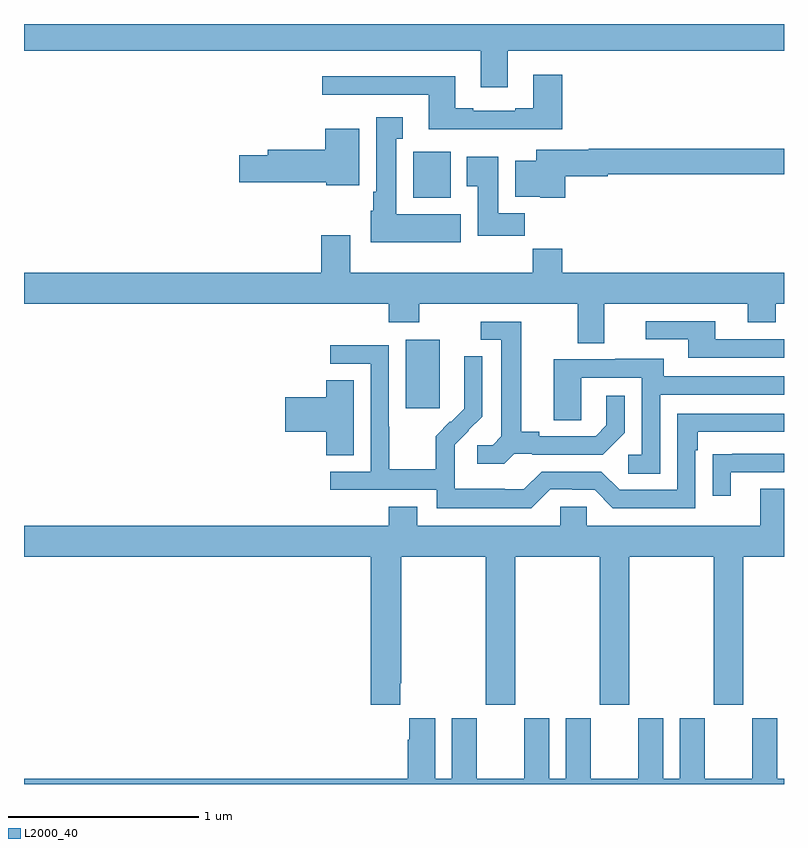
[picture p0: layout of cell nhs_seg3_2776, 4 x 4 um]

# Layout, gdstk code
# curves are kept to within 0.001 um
import gdstk
lib = gdstk.Library(unit=1e-6, precision=1e-09)
def R(c, l, rs):  # rectangles x0, y0, x1, y1
    for r in rs: c.add(gdstk.rectangle(r[:2], r[2:], *l))
def P(c, l, *ps):  # polygons
    for p in ps: c.add(gdstk.Polygon(p, *l))
L2000_40 = (2000, 40)

nhs_seg3_2776 = lib.new_cell('nhs_seg3_2776')
R(nhs_seg3_2776, L2000_40, [(257.009,688.377,257.188,688.738), (257.048,689.486,257.245,689.728)])
P(nhs_seg3_2776, L2000_40, [(257.545,690.26),(259,690.26),(259,690.4),(255,690.4),(255,690.26),(257.405,690.26),(257.405,690.066),(257.545,690.066)],
  [(257.834,690.133),(257.681,690.133),(257.681,689.956),(257.585,689.956),(257.585,689.943),(257.365,689.943),(257.365,689.956),(257.269,689.956),(257.269,690.124),(256.569,690.124),(256.569,690.027),(257.129,690.027),(257.129,689.846),(257.834,689.846)],
  [(257.299,689.398),(256.96,689.398),(256.96,689.795),(256.993,689.795),(256.993,689.908),(256.853,689.908),(256.853,689.518),(256.838,689.518),(256.838,689.418),(256.826,689.418),(256.826,689.252),(257.299,689.252)],
  [(256.765,689.848),(256.586,689.848),(256.586,689.738),(256.283,689.738),(256.283,689.708),(256.134,689.708),(256.134,689.566),(256.59,689.566),(256.59,689.552),(256.765,689.552)],
  [(257.849,689.6),(258.072,689.6),(258.072,689.608),(259,689.608),(259,689.744),(257.972,689.744),(257.972,689.737),(257.696,689.737),(257.696,689.68),(257.585,689.68),(257.585,689.492),(257.718,689.492),(257.718,689.486),(257.849,689.486)],
  [(257.636,689.404),(257.497,689.404),(257.497,689.701),(257.33,689.701),(257.33,689.545),(257.387,689.545),(257.387,689.286),(257.636,689.286)],
  [(258.055,688.928),(258.809,688.928),(258.809,688.829),(258.957,688.829),(258.957,688.928),(259,688.928),(259,689.092),(257.834,689.092),(257.834,689.216),(257.677,689.216),(257.677,689.092),(256.717,689.092),(256.717,689.287),(256.565,689.287),(256.565,689.092),(255,689.092),(255,688.928),(256.919,688.928),(256.919,688.829),(257.079,688.829),(257.079,688.928),(257.915,688.928),(257.915,688.72),(258.055,688.72)],
  [(259,688.74),(258.637,688.74),(258.637,688.836),(258.273,688.836),(258.273,688.74),(258.497,688.74),(258.497,688.644),(259,688.644)],
  [(257.58,688.137),(257.674,688.137),(257.674,688.134),(258.046,688.134),(258.162,688.25),(258.162,688.444),(258.065,688.444),(258.065,688.287),(258.008,688.23),(257.713,688.23),(257.713,688.253),(257.617,688.253),(257.617,688.833),(257.403,688.833),(257.403,688.737),(257.513,688.737),(257.513,688.229),(257.466,688.182),(257.385,688.182),(257.385,688.085),(257.528,688.085)],
  [(257.769,687.951),(257.885,687.951),(257.885,687.948),(258.003,687.948),(258.099,687.852),(258.534,687.852),(258.534,688.157),(258.547,688.157),(258.547,688.254),(259,688.254),(259,688.35),(258.438,688.35),(258.438,687.948),(258.135,687.948),(258.039,688.044),(257.724,688.044),(257.631,687.951),(257.531,687.951),(257.531,687.955),(257.268,687.955),(257.268,688.089),(257.266,688.089),(257.266,688.186),(257.412,688.334),(257.412,688.652),(257.316,688.652),(257.316,688.498),(257.318,688.498),(257.318,688.376),(257.247,688.305),(257.244,688.308),(257.167,688.231),(257.167,688.057),(256.923,688.057),(256.923,688.28),(256.92,688.28),(256.92,688.71),(256.611,688.71),(256.611,688.611),(256.824,688.611),(256.824,688.044),(256.611,688.044),(256.611,687.948),(257.172,687.948),(257.172,687.851),(257.669,687.851)],
  [(258.348,688.449),(259,688.449),(259,688.545),(258.367,688.545),(258.367,688.639),(258.113,688.639),(258.113,688.635),(257.789,688.635),(257.789,688.315),(257.934,688.315),(257.934,688.539),(258.252,688.539),(258.252,688.134),(258.18,688.134),(258.18,688.033),(258.348,688.033)],
  [(256.735,688.526),(256.592,688.526),(256.592,688.436),(256.374,688.436),(256.374,688.253),(256.592,688.253),(256.592,688.129),(256.735,688.129)],
  [(258.721,688.041),(259,688.041),(259,688.137),(258.727,688.137),(258.727,688.136),(258.625,688.136),(258.625,687.918),(258.721,687.918)],
  [(256.981,686.929),(256.986,686.929),(256.986,687.596),(257.431,687.596),(257.431,686.817),(257.586,686.817),(257.586,687.596),(258.031,687.596),(258.031,686.817),(258.186,686.817),(258.186,687.596),(258.631,687.596),(258.631,686.817),(258.786,686.817),(258.786,687.596),(259,687.596),(259,687.955),(258.875,687.955),(258.875,687.76),(257.961,687.76),(257.961,687.858),(257.823,687.858),(257.823,687.76),(257.071,687.76),(257.071,687.859),(256.919,687.859),(256.919,687.76),(255,687.76),(255,687.596),(256.826,687.596),(256.826,686.817),(256.981,686.817)],
  [(259,686.428),(258.964,686.428),(258.964,686.746),(258.833,686.746),(258.833,686.428),(258.583,686.428),(258.583,686.746),(258.452,686.746),(258.452,686.428),(258.364,686.428),(258.364,686.746),(258.233,686.746),(258.233,686.428),(257.983,686.428),(257.983,686.746),(257.852,686.746),(257.852,686.428),(257.764,686.428),(257.764,686.746),(257.633,686.746),(257.633,686.428),(257.383,686.428),(257.383,686.746),(257.252,686.746),(257.252,686.428),(257.164,686.428),(257.164,686.746),(257.027,686.746),(257.027,686.633),(257.021,686.633),(257.021,686.428),(255,686.428),(255,686.4),(259,686.4)])

lib.write_gds('nhs_seg3_2776.gds')
